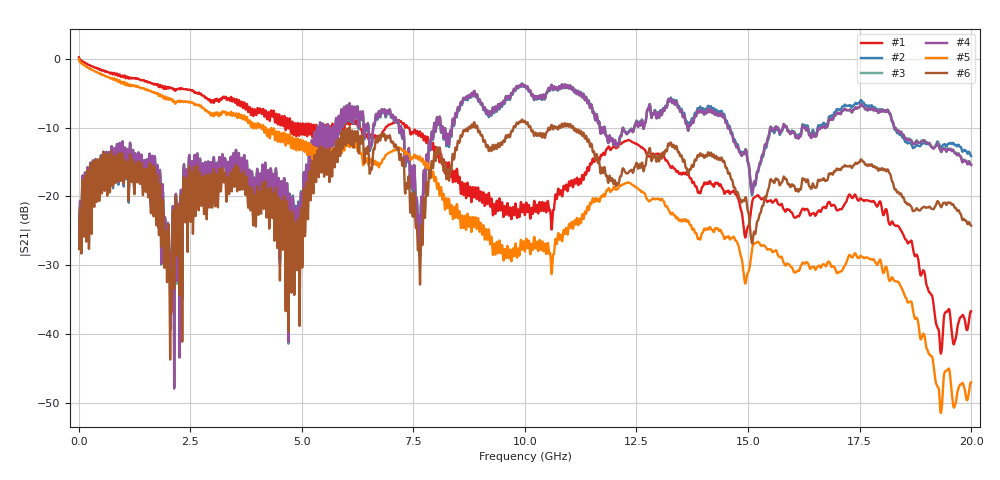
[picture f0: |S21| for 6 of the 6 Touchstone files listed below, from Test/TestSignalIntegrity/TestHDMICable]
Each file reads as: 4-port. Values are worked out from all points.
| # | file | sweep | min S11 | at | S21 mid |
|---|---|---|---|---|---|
| 1 | HDMICableDeembeddedMM.s4p | 5 MHz to 20 GHz | -42.4 dB | 350 MHz | -22.6 dB at 10.01 GHz |
| 2 | HDMICableDeembeddedSE.s4p | 10 MHz to 20 GHz | -37.8 dB | 13.26 GHz | -4.0 dB at 10.01 GHz |
| 3 | HDMICableDeembeddedSE_U1.s4p | 10 MHz to 20 GHz | -41.6 dB | 13.13 GHz | -4.0 dB at 10.01 GHz |
| 4 | HDMICableDeembeddedSEPeeled_Result.s4p | 10 MHz to 20 GHz | -44.9 dB | 13.13 GHz | -3.9 dB at 10.01 GHz |
| 5 | HDMICableRawMM.s4p | 5 MHz to 20 GHz | -45.1 dB | 365 MHz | -27.9 dB at 10.01 GHz |
| 6 | HDMICableSENoDeembedding.s4p | 10 MHz to 20 GHz | -60.9 dB | 13.2 GHz | -9.2 dB at 10.01 GHz |
